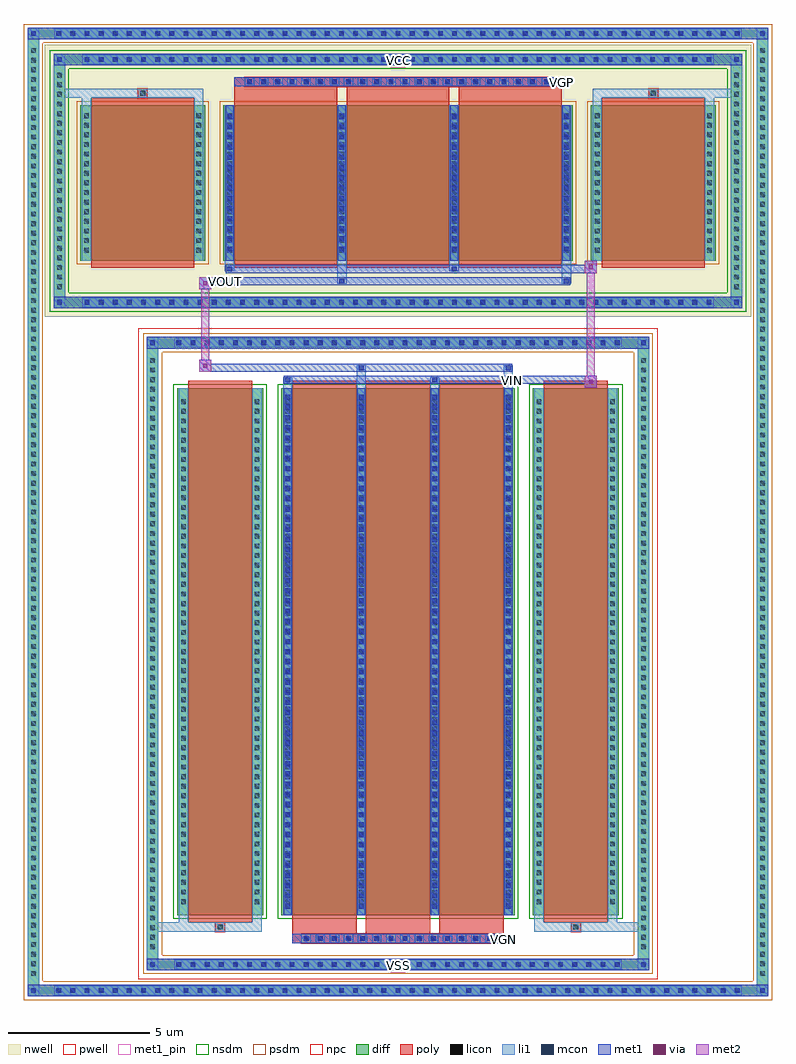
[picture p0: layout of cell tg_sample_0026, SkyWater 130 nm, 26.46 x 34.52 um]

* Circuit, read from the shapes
.subckt tg_sample_0026 VCC VGN VGP VIN VOUT VSS
XM1 VSS VSS VSS VSUBS sky130_fd_pr__nfet_01v8 w=18.65 l=2.27 m=2
XM2 VOUT VGN VIN VSUBS sky130_fd_pr__nfet_01v8 w=18.65 l=2.27 m=3
XM3 VCC VCC VCC n1 sky130_fd_pr__pfet_01v8 w=5.51 l=3.64 m=2
XM4 VOUT VGP VIN n1 sky130_fd_pr__pfet_01v8 w=5.51 l=3.64 m=3
.ends

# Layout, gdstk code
import gdstk
lib = gdstk.Library(unit=1e-6, precision=5e-09)
def R(c, l, rs):  # rectangles x0, y0, x1, y1
    for r in rs: c.add(gdstk.rectangle(r[:2], r[2:], *l))
def A(c, l, x, y, w, h, nx, ny, dx, dy):  # array of equal rectangles
    R(c, l, [(x+i*dx, y+j*dy, x+i*dx+w, y+j*dy+h) for i in range(nx) for j in range(ny)])
def P(c, l, *ps):  # polygons
    for p in ps: c.add(gdstk.Polygon(p, *l))
nwell = (64, 20)
pwell = (64, 44)
diff = (65, 20)
poly = (66, 20)
licon = (66, 44)
li1 = (67, 20)
mcon = (67, 44)
met1_pin = (68, 16)
met1 = (68, 20)
via = (68, 44)
met2 = (69, 20)
nsdm = (93, 44)
psdm = (94, 20)
npc = (95, 20)

tg_sample_0026 = lib.new_cell('tg_sample_0026')
R(tg_sample_0026, nwell, [(-12.49,11.91,12.49,21.53)])
R(tg_sample_0026, pwell, [(-9.195,-11.51,9.195,11.51)])
A(tg_sample_0026, diff, -12.205, -12.12, 0.41, 0.41, 49, 2, 0.5, 33.85)
A(tg_sample_0026, diff, -13.1, -11.515, 0.41, 0.41, 1, 97, 0, 0.34)
A(tg_sample_0026, diff, 12.69, -11.515, 0.41, 0.41, 1, 97, 0, 0.34)
A(tg_sample_0026, diff, -7.955, -11.2, 0.41, 0.41, 32, 2, 0.5, 21.99)
A(tg_sample_0026, diff, -8.885, -10.575, 0.41, 0.41, 1, 62, 0, 0.34)
A(tg_sample_0026, diff, 8.475, -10.575, 0.41, 0.41, 1, 62, 0, 0.34)
A(tg_sample_0026, diff, -11.205, 12.22, 0.41, 0.41, 45, 2, 0.5, 8.59)
A(tg_sample_0026, diff, -12.18, 12.775, 0.41, 0.41, 1, 23, 0, 0.34)
A(tg_sample_0026, diff, 11.77, 12.775, 0.41, 0.41, 1, 23, 0, 0.34)
R(tg_sample_0026, diff, [(-12.205,-12.12,12.205,-11.71), (-13.1,-11.515,-12.69,21.535), (12.69,-11.515,13.1,21.535), (-7.955,-11.2,7.955,-10.79), (-8.885,-10.575,-8.475,10.575), (8.475,-10.575,8.885,10.575), (-7.815,-9.255,-4.765,9.395), (-4.125,-9.255,4.125,9.395), (4.765,-9.255,7.815,9.395), (-7.955,10.79,7.955,11.2), (-11.205,12.22,11.205,12.63), (-12.18,12.775,-11.77,20.665), (11.77,12.775,12.18,20.665), (-11.24,13.895,-6.82,19.405), (-6.18,13.895,6.18,19.405), (6.82,13.895,11.24,19.405), (-11.205,20.81,11.205,21.22), (-12.205,21.73,12.205,22.14)])
P(tg_sample_0026, diff, [(8.885,11.2),(-8.885,11.2),(-8.885,-10.79),(-8.475,-10.79),(-8.475,10.79),(8.475,10.79),(8.475,-10.79),(-8.475,-10.79),(-8.885,-10.79),(-8.885,-11.2),(8.885,-11.2)],
  [(13.1,22.14),(-13.1,22.14),(-13.1,-11.71),(-12.69,-11.71),(-12.69,21.73),(12.69,21.73),(12.69,-11.71),(-12.69,-11.71),(-13.1,-11.71),(-13.1,-12.12),(13.1,-12.12)],
  [(12.18,12.22),(-12.18,12.22),(-12.18,20.81),(-11.77,20.81),(-11.77,12.63),(11.77,12.63),(11.77,20.81),(-11.77,20.81),(-12.18,20.81),(-12.18,21.22),(12.18,21.22)])
A(tg_sample_0026, poly, -3.415, -10.24, 0.33, 0.33, 14, 1, 0.5, 0)
A(tg_sample_0026, poly, -3.735, -9.91, 2.27, 0.405, 3, 1, 2.6, 0)
A(tg_sample_0026, poly, -3.735, -9.505, 2.27, 19.15, 3, 1, 2.6, 0)
A(tg_sample_0026, poly, -5.79, 13.645, 3.64, 6.01, 3, 1, 3.97, 0)
A(tg_sample_0026, poly, -5.79, 19.655, 3.64, 0.405, 3, 1, 3.97, 0)
A(tg_sample_0026, poly, -5.415, 20.06, 0.33, 0.33, 22, 1, 0.5, 0)
R(tg_sample_0026, poly, [(-3.735,-10.24,3.735,-9.91), (-6.455,-9.835,-6.125,-9.505), (-6.455,-9.835,-6.125,-9.505), (6.125,-9.835,6.455,-9.505), (6.125,-9.835,6.455,-9.505), (-7.425,-9.505,-5.155,9.645), (5.155,-9.505,7.425,9.645), (-10.85,13.645,-7.21,19.655), (7.21,13.645,10.85,19.655), (-9.195,19.655,-8.865,19.985), (-9.195,19.655,-8.865,19.985), (8.865,19.655,9.195,19.985), (8.865,19.655,9.195,19.985), (-5.79,20.06,5.79,20.39)])
A(tg_sample_0026, licon, -12.085, -12, 0.17, 0.17, 49, 2, 0.5, 33.85)
A(tg_sample_0026, licon, -12.98, -11.395, 0.17, 0.17, 1, 97, 0, 0.34)
A(tg_sample_0026, licon, 12.81, -11.395, 0.17, 0.17, 1, 97, 0, 0.34)
A(tg_sample_0026, licon, -7.835, -11.08, 0.17, 0.17, 32, 2, 0.5, 21.99)
A(tg_sample_0026, licon, -8.765, -10.455, 0.17, 0.17, 1, 62, 0, 0.34)
A(tg_sample_0026, licon, 8.595, -10.455, 0.17, 0.17, 1, 62, 0, 0.34)
A(tg_sample_0026, licon, -3.335, -10.16, 0.17, 0.17, 14, 1, 0.5, 0)
A(tg_sample_0026, licon, -7.675, -8.855, 0.17, 0.17, 1, 53, 0, 0.34)
A(tg_sample_0026, licon, -5.075, -8.855, 0.17, 0.17, 1, 53, 0, 0.34)
A(tg_sample_0026, licon, -3.985, -8.855, 0.17, 0.17, 4, 53, 2.6, 0.34)
A(tg_sample_0026, licon, 4.905, -8.855, 0.17, 0.17, 1, 53, 0, 0.34)
A(tg_sample_0026, licon, 7.505, -8.855, 0.17, 0.17, 1, 53, 0, 0.34)
A(tg_sample_0026, licon, -11.085, 12.34, 0.17, 0.17, 45, 2, 0.5, 8.59)
A(tg_sample_0026, licon, -12.06, 12.895, 0.17, 0.17, 1, 23, 0, 0.34)
A(tg_sample_0026, licon, 11.89, 12.895, 0.17, 0.17, 1, 23, 0, 0.34)
A(tg_sample_0026, licon, -11.1, 14.185, 0.17, 0.17, 1, 15, 0, 0.34)
A(tg_sample_0026, licon, -7.13, 14.185, 0.17, 0.17, 1, 15, 0, 0.34)
A(tg_sample_0026, licon, -6.04, 14.185, 0.17, 0.17, 4, 15, 3.97, 0.34)
A(tg_sample_0026, licon, 6.96, 14.185, 0.17, 0.17, 1, 15, 0, 0.34)
A(tg_sample_0026, licon, 10.93, 14.185, 0.17, 0.17, 1, 15, 0, 0.34)
A(tg_sample_0026, licon, -5.335, 20.14, 0.17, 0.17, 22, 1, 0.5, 0)
R(tg_sample_0026, licon, [(-6.375,-9.755,-6.205,-9.585), (6.205,-9.755,6.375,-9.585), (-9.115,19.735,-8.945,19.905), (8.945,19.735,9.115,19.905)])
A(tg_sample_0026, li1, -12.165, -12.08, 0.33, 0.33, 49, 2, 0.5, 33.85)
A(tg_sample_0026, li1, -13.06, -11.475, 0.33, 0.33, 1, 97, 0, 0.34)
A(tg_sample_0026, li1, 12.73, -11.475, 0.33, 0.33, 1, 97, 0, 0.34)
A(tg_sample_0026, li1, -7.915, -11.16, 0.33, 0.33, 32, 2, 0.5, 21.99)
A(tg_sample_0026, li1, -8.845, -10.535, 0.33, 0.33, 1, 62, 0, 0.34)
A(tg_sample_0026, li1, 8.515, -10.535, 0.33, 0.33, 1, 62, 0, 0.34)
A(tg_sample_0026, li1, -3.415, -10.24, 0.33, 0.33, 14, 1, 0.5, 0)
A(tg_sample_0026, li1, -4.065, -9.255, 0.33, 18.65, 4, 1, 2.6, 0)
A(tg_sample_0026, li1, -3.985, -9.015, 0.17, 0.17, 4, 51, 2.6, 0.36)
A(tg_sample_0026, li1, -3.985, -9.015, 0.17, 18.17, 4, 1, 2.6, 0)
A(tg_sample_0026, li1, -7.755, -8.935, 0.33, 0.33, 1, 53, 0, 0.34)
A(tg_sample_0026, li1, -5.155, -8.935, 0.33, 0.33, 1, 53, 0, 0.34)
A(tg_sample_0026, li1, -4.065, -8.935, 0.33, 0.33, 4, 53, 2.6, 0.34)
A(tg_sample_0026, li1, 4.825, -8.935, 0.33, 0.33, 1, 53, 0, 0.34)
A(tg_sample_0026, li1, 7.425, -8.935, 0.33, 0.33, 1, 53, 0, 0.34)
A(tg_sample_0026, li1, -11.165, 12.26, 0.33, 0.33, 45, 2, 0.5, 8.59)
A(tg_sample_0026, li1, -12.14, 12.815, 0.33, 0.33, 1, 23, 0, 0.34)
A(tg_sample_0026, li1, 11.81, 12.815, 0.33, 0.33, 1, 23, 0, 0.34)
A(tg_sample_0026, li1, -6.12, 13.895, 0.33, 5.51, 4, 1, 3.97, 0)
A(tg_sample_0026, li1, -11.18, 14.105, 0.33, 0.33, 1, 15, 0, 0.34)
A(tg_sample_0026, li1, -7.21, 14.105, 0.33, 0.33, 1, 15, 0, 0.34)
A(tg_sample_0026, li1, -6.12, 14.105, 0.33, 0.33, 4, 15, 3.97, 0.34)
A(tg_sample_0026, li1, 6.88, 14.105, 0.33, 0.33, 1, 15, 0, 0.34)
A(tg_sample_0026, li1, 10.85, 14.105, 0.33, 0.33, 1, 15, 0, 0.34)
A(tg_sample_0026, li1, -6.04, 14.225, 0.17, 0.17, 4, 14, 3.97, 0.36)
A(tg_sample_0026, li1, -6.04, 14.225, 0.17, 4.85, 4, 1, 3.97, 0)
A(tg_sample_0026, li1, -5.415, 20.06, 0.33, 0.33, 22, 1, 0.5, 0)
R(tg_sample_0026, li1, [(-13.1,-12.12,-12.69,-11.71), (12.69,-12.12,13.1,-11.71), (-12.165,-12.08,12.165,-11.75), (-12.98,-12,-12.81,-11.83), (-12.98,-12,-12.81,-11.83), (12.81,-12,12.98,-11.83), (12.81,-12,12.98,-11.83), (-13.1,-11.71,-12.69,21.73), (12.69,-11.71,13.1,21.73), (-8.885,-11.2,-8.475,-10.79), (8.475,-11.2,8.885,-10.79), (-7.915,-11.16,7.915,-10.83), (-8.765,-11.08,-8.595,-10.91), (-8.765,-11.08,-8.595,-10.91), (8.595,-11.08,8.765,-10.91), (8.595,-11.08,8.765,-10.91), (-8.885,-10.79,-8.475,10.79), (8.475,-10.79,8.885,10.79), (-8.885,-9.835,-6.455,-9.505), (-7.755,-9.835,-6.455,-9.505), (-7.755,-9.835,-7.425,-9.255), (-6.455,-9.835,-6.125,-9.505), (-6.125,-9.835,-4.825,-9.505), (-5.155,-9.835,-4.825,-9.255), (4.825,-9.835,6.125,-9.505), (4.825,-9.835,5.155,-9.255), (6.125,-9.835,6.455,-9.505), (6.125,-9.835,8.885,-9.505), (6.455,-9.835,7.755,-9.505), (7.425,-9.835,7.755,-9.255), (-7.755,-9.255,-7.425,9.395), (-5.155,-9.255,-4.825,9.395), (4.825,-9.255,5.155,9.395), (7.425,-9.255,7.755,9.395), (-4.065,9.395,-3.735,9.77), (-1.465,9.395,-1.135,10.2), (1.135,9.395,1.465,9.77), (3.735,9.395,4.065,10.2), (-3.985,9.6,-3.815,9.77), (1.215,9.6,1.385,9.77), (-1.385,10.03,-1.215,10.2), (3.815,10.03,3.985,10.2), (-8.885,10.79,-8.475,11.2), (8.475,10.79,8.885,11.2), (-7.915,10.83,7.915,11.16), (-8.765,10.91,-8.595,11.08), (-8.765,10.91,-8.595,11.08), (8.595,10.91,8.765,11.08), (8.595,10.91,8.765,11.08), (-12.18,12.22,-11.77,12.63), (11.77,12.22,12.18,12.63), (-11.165,12.26,11.165,12.59), (-12.06,12.34,-11.89,12.51), (-12.06,12.34,-11.89,12.51), (11.89,12.34,12.06,12.51), (11.89,12.34,12.06,12.51), (-12.18,12.63,-11.77,20.81), (11.77,12.63,12.18,20.81), (-2.15,13.09,-1.82,13.895), (-2.07,13.09,-1.9,13.26), (5.79,13.09,6.12,13.895), (5.87,13.09,6.04,13.26), (-6.12,13.52,-5.79,13.895), (-6.04,13.52,-5.87,13.69), (1.82,13.52,2.15,13.895), (1.9,13.52,2.07,13.69), (-11.18,13.895,-10.85,19.405), (-7.21,13.895,-6.88,19.405), (6.88,13.895,7.21,19.405), (10.85,13.895,11.18,19.405), (-11.18,19.405,-10.85,19.985), (-7.21,19.405,-6.88,19.985), (6.88,19.405,7.21,19.985), (10.85,19.405,11.18,19.985), (-12.18,19.655,-9.195,19.985), (-11.18,19.655,-9.195,19.985), (-9.195,19.655,-8.865,19.985), (-8.865,19.655,-6.88,19.985), (6.88,19.655,8.865,19.985), (8.865,19.655,9.195,19.985), (8.865,19.655,12.18,19.985), (9.195,19.655,11.18,19.985), (-12.18,20.81,-11.77,21.22), (11.77,20.81,12.18,21.22), (-11.165,20.85,11.165,21.18), (-12.06,20.93,-11.89,21.1), (-12.06,20.93,-11.89,21.1), (11.89,20.93,12.06,21.1), (11.89,20.93,12.06,21.1), (-13.1,21.73,-12.69,22.14), (12.69,21.73,13.1,22.14), (-12.165,21.77,12.165,22.1), (-12.98,21.85,-12.81,22.02), (-12.98,21.85,-12.81,22.02), (12.81,21.85,12.98,22.02), (12.81,21.85,12.98,22.02)])
A(tg_sample_0026, mcon, -12.085, -12, 0.17, 0.17, 49, 2, 0.5, 33.85)
A(tg_sample_0026, mcon, -7.835, -11.08, 0.17, 0.17, 32, 2, 0.5, 21.99)
A(tg_sample_0026, mcon, -3.335, -10.16, 0.17, 0.17, 14, 1, 0.5, 0)
A(tg_sample_0026, mcon, -3.985, -9.015, 0.17, 0.17, 4, 51, 2.6, 0.36)
A(tg_sample_0026, mcon, -11.085, 12.34, 0.17, 0.17, 45, 2, 0.5, 8.59)
A(tg_sample_0026, mcon, -6.04, 14.225, 0.17, 0.17, 4, 14, 3.97, 0.36)
A(tg_sample_0026, mcon, -5.335, 20.14, 0.17, 0.17, 22, 1, 0.5, 0)
R(tg_sample_0026, mcon, [(-12.98,-12,-12.81,-11.83), (12.81,-12,12.98,-11.83), (-8.765,-11.08,-8.595,-10.91), (8.595,-11.08,8.765,-10.91), (-3.985,9.6,-3.815,9.77), (1.215,9.6,1.385,9.77), (-1.385,10.03,-1.215,10.2), (3.815,10.03,3.985,10.2), (-8.765,10.91,-8.595,11.08), (8.595,10.91,8.765,11.08), (-12.06,12.34,-11.89,12.51), (11.89,12.34,12.06,12.51), (-2.07,13.09,-1.9,13.26), (5.87,13.09,6.04,13.26), (-6.04,13.52,-5.87,13.69), (1.9,13.52,2.07,13.69), (-12.06,20.93,-11.89,21.1), (11.89,20.93,12.06,21.1), (-12.98,21.85,-12.81,22.02), (12.81,21.85,12.98,22.02)])
R(tg_sample_0026, met1_pin, [(-0.25,-11.29,0.25,-10.79), (3.6,-10.24,3.87,-9.97), (3.91,9.54,4.18,9.81), (-6.235,13.03,-5.965,13.3), (5.655,20.06,5.925,20.33), (-0.25,20.72,0.25,21.22)])
A(tg_sample_0026, met1, -12.145, -12.06, 0.29, 0.29, 49, 2, 0.5, 33.85)
A(tg_sample_0026, met1, -7.895, -11.14, 0.29, 0.29, 32, 2, 0.5, 21.99)
A(tg_sample_0026, met1, -3.395, -10.22, 0.29, 0.29, 14, 1, 0.5, 0)
A(tg_sample_0026, met1, -4.045, -9.255, 0.29, 18.65, 4, 1, 2.6, 0)
A(tg_sample_0026, met1, -4.045, -9.075, 0.29, 0.29, 4, 51, 2.6, 0.36)
A(tg_sample_0026, met1, -11.145, 12.28, 0.29, 0.29, 45, 2, 0.5, 8.59)
A(tg_sample_0026, met1, -6.1, 13.895, 0.29, 5.51, 4, 1, 3.97, 0)
A(tg_sample_0026, met1, -6.1, 14.165, 0.29, 0.29, 4, 14, 3.97, 0.36)
A(tg_sample_0026, met1, -5.395, 20.08, 0.29, 0.29, 22, 1, 0.5, 0)
R(tg_sample_0026, met1, [(-13.1,-12.12,-12.69,-11.71), (-13.1,-12.12,-12.69,-11.71), (-12.69,-12.12,12.69,-11.71), (12.69,-12.12,13.1,-11.71), (12.69,-12.12,13.1,-11.71), (-13.04,-12.06,-12.75,-11.77), (12.75,-12.06,13.04,-11.77), (-8.885,-11.2,-8.475,-10.79), (-8.885,-11.2,-8.475,-10.79), (-8.475,-11.2,8.475,-10.79), (8.475,-11.2,8.885,-10.79), (8.475,-11.2,8.885,-10.79), (-8.825,-11.14,-8.535,-10.85), (8.535,-11.14,8.825,-10.85), (-3.735,-10.24,3.735,-9.91), (6.6,9.4,7.03,9.83), (-4.045,9.54,-3.755,9.83), (-4.045,9.54,4.045,9.83), (1.155,9.54,1.445,9.83), (4.045,9.54,7.03,9.83), (-7.03,9.97,-4.045,10.26), (-7.03,9.97,-6.6,10.4), (-4.045,9.97,4.045,10.26), (-1.445,9.97,-1.155,10.26), (3.755,9.97,4.045,10.26), (-8.885,10.79,-8.475,11.2), (-8.885,10.79,-8.475,11.2), (-8.475,10.79,8.475,11.2), (8.475,10.79,8.885,11.2), (8.475,10.79,8.885,11.2), (-8.825,10.85,-8.535,11.14), (8.535,10.85,8.825,11.14), (-12.18,12.22,-11.77,12.63), (-12.18,12.22,-11.77,12.63), (-11.77,12.22,11.77,12.63), (11.77,12.22,12.18,12.63), (11.77,12.22,12.18,12.63), (-12.12,12.28,-11.83,12.57), (11.83,12.28,12.12,12.57), (-7.03,12.89,-6.6,13.32), (-7.03,13.03,-6.1,13.32), (-6.1,13.03,6.1,13.32), (-2.13,13.03,-1.84,13.32), (5.81,13.03,6.1,13.32), (-6.1,13.46,-5.81,13.75), (-6.1,13.46,6.1,13.75), (1.84,13.46,2.13,13.75), (6.1,13.46,7.03,13.75), (6.6,13.46,7.03,13.89), (-5.79,20.06,5.79,20.39), (-12.18,20.81,-11.77,21.22), (-12.18,20.81,-11.77,21.22), (-11.77,20.81,11.77,21.22), (11.77,20.81,12.18,21.22), (11.77,20.81,12.18,21.22), (-12.12,20.87,-11.83,21.16), (11.83,20.87,12.12,21.16), (-13.1,21.73,-12.69,22.14), (-13.1,21.73,-12.69,22.14), (-12.69,21.73,12.69,22.14), (12.69,21.73,13.1,22.14), (12.69,21.73,13.1,22.14), (-13.04,21.79,-12.75,22.08), (12.75,21.79,13.04,22.08)])
R(tg_sample_0026, via, [(6.74,9.54,6.89,9.69), (-6.89,10.11,-6.74,10.26), (-6.89,13.03,-6.74,13.18), (6.74,13.6,6.89,13.75)])
R(tg_sample_0026, met2, [(6.6,9.4,7.03,9.83), (6.67,9.4,6.96,13.89), (6.96,9.4,7.03,9.83), (6.65,9.45,6.98,9.78), (-7.03,9.97,-6.6,10.4), (-6.96,9.97,-6.67,13.32), (-6.67,9.97,-6.6,10.4), (-6.98,10.02,-6.65,10.35), (-7.03,12.89,-6.6,13.32), (-6.67,12.89,-6.6,13.32), (-6.98,12.94,-6.65,13.27), (6.6,13.46,7.03,13.89), (6.96,13.46,7.03,13.89), (6.65,13.51,6.98,13.84)])
R(tg_sample_0026, nsdm, [(-7.945,-9.385,-4.635,9.525), (-4.255,-9.385,4.255,9.525), (4.635,-9.385,7.945,9.525)])
P(tg_sample_0026, nsdm, [(12.31,12.09),(-12.31,12.09),(-12.31,20.68),(-11.64,20.68),(-11.64,12.76),(11.64,12.76),(11.64,20.68),(-11.64,20.68),(-12.31,20.68),(-12.31,21.35),(12.31,21.35)])
R(tg_sample_0026, psdm, [(-11.37,13.765,-6.69,19.535), (-6.31,13.765,6.31,19.535), (6.69,13.765,11.37,19.535)])
P(tg_sample_0026, psdm, [(9.015,11.33),(-9.015,11.33),(-9.015,-10.66),(-8.345,-10.66),(-8.345,10.66),(8.345,10.66),(8.345,-10.66),(-8.345,-10.66),(-9.015,-10.66),(-9.015,-11.33),(9.015,-11.33)],
  [(13.23,22.27),(-13.23,22.27),(-13.23,-11.58),(-12.56,-11.58),(-12.56,21.6),(12.56,21.6),(12.56,-11.58),(-12.56,-11.58),(-13.23,-11.58),(-13.23,-12.25),(13.23,-12.25)])
A(tg_sample_0026, npc, -3.435, -10.26, 0.37, 0.37, 14, 1, 0.5, 0)
A(tg_sample_0026, npc, -5.435, 20.04, 0.37, 0.37, 22, 1, 0.5, 0)
R(tg_sample_0026, npc, [(-3.435,-10.26,-2.565,-9.89), (-3.435,-10.26,-2.565,-9.89), (-2.935,-10.26,-2.065,-9.89), (-2.935,-10.26,-2.065,-9.89), (-2.435,-10.26,-1.565,-9.89), (-2.435,-10.26,-1.565,-9.89), (-1.935,-10.26,-1.065,-9.89), (-1.935,-10.26,-1.065,-9.89), (-1.435,-10.26,-0.565,-9.89), (-1.435,-10.26,-0.565,-9.89), (-0.935,-10.26,-0.065,-9.89), (-0.935,-10.26,-0.065,-9.89), (-0.435,-10.26,0.435,-9.89), (-0.435,-10.26,0.435,-9.89), (0.065,-10.26,0.935,-9.89), (0.065,-10.26,0.935,-9.89), (0.565,-10.26,1.435,-9.89), (0.565,-10.26,1.435,-9.89), (1.065,-10.26,1.935,-9.89), (1.065,-10.26,1.935,-9.89), (1.565,-10.26,2.435,-9.89), (1.565,-10.26,2.435,-9.89), (2.065,-10.26,2.935,-9.89), (2.065,-10.26,2.935,-9.89), (2.565,-10.26,3.435,-9.89), (2.565,-10.26,3.435,-9.89), (-6.475,-9.855,-6.105,-9.485), (6.105,-9.855,6.475,-9.485), (-9.215,19.635,-8.845,20.005), (8.845,19.635,9.215,20.005), (-5.435,20.04,-4.565,20.41), (-5.435,20.04,-4.565,20.41), (-4.935,20.04,-4.065,20.41), (-4.935,20.04,-4.065,20.41), (-4.435,20.04,-3.565,20.41), (-4.435,20.04,-3.565,20.41), (-3.935,20.04,-3.065,20.41), (-3.935,20.04,-3.065,20.41), (-3.435,20.04,-2.565,20.41), (-3.435,20.04,-2.565,20.41), (-2.935,20.04,-2.065,20.41), (-2.935,20.04,-2.065,20.41), (-2.435,20.04,-1.565,20.41), (-2.435,20.04,-1.565,20.41), (-1.935,20.04,-1.065,20.41), (-1.935,20.04,-1.065,20.41), (-1.435,20.04,-0.565,20.41), (-1.435,20.04,-0.565,20.41), (-0.935,20.04,-0.065,20.41), (-0.935,20.04,-0.065,20.41), (-0.435,20.04,0.435,20.41), (-0.435,20.04,0.435,20.41), (0.065,20.04,0.935,20.41), (0.065,20.04,0.935,20.41), (0.565,20.04,1.435,20.41), (0.565,20.04,1.435,20.41), (1.065,20.04,1.935,20.41), (1.065,20.04,1.935,20.41), (1.565,20.04,2.435,20.41), (1.565,20.04,2.435,20.41), (2.065,20.04,2.935,20.41), (2.065,20.04,2.935,20.41), (2.565,20.04,3.435,20.41), (2.565,20.04,3.435,20.41), (3.065,20.04,3.935,20.41), (3.065,20.04,3.935,20.41), (3.565,20.04,4.435,20.41), (3.565,20.04,4.435,20.41), (4.065,20.04,4.935,20.41), (4.065,20.04,4.935,20.41), (4.565,20.04,5.435,20.41), (4.565,20.04,5.435,20.41)])
tg_sample_0026.add(gdstk.Label('VIN', (4.045,9.675), layer=68, texttype=5))
tg_sample_0026.add(gdstk.Label('VGN', (3.735,-10.105), layer=68, texttype=5))
tg_sample_0026.add(gdstk.Label('VGP', (5.79,20.195), layer=68, texttype=5))
tg_sample_0026.add(gdstk.Label('VSS', (0,-11.04), layer=68, texttype=5))
tg_sample_0026.add(gdstk.Label('VCC', (0,20.97), layer=68, texttype=5))
tg_sample_0026.add(gdstk.Label('VOUT', (-6.1,13.165), layer=68, texttype=5))

lib.write_gds('tg_sample_0026.gds')
